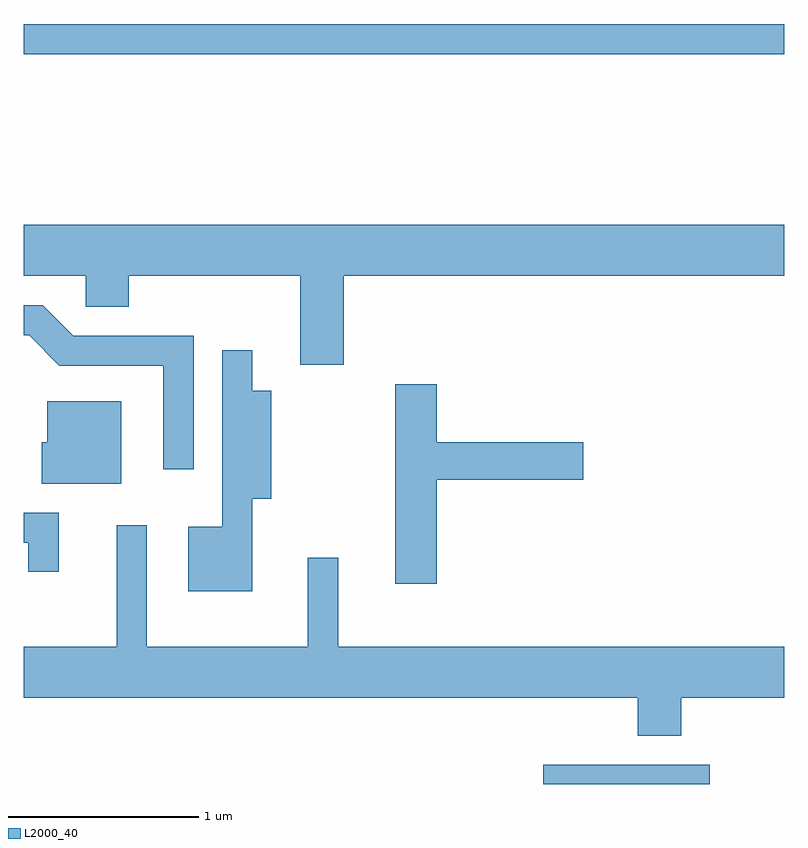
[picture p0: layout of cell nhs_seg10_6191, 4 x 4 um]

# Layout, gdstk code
import gdstk
lib = gdstk.Library(unit=1e-6, precision=1e-09)
def R(c, l, rs):  # rectangles x0, y0, x1, y1
    for r in rs: c.add(gdstk.rectangle(r[:2], r[2:], *l))
def P(c, l, *ps):  # polygons
    for p in ps: c.add(gdstk.Polygon(p, *l))
L2000_40 = (2000, 40)

nhs_seg10_6191 = lib.new_cell('nhs_seg10_6191')
R(nhs_seg10_6191, L2000_40, [(370.343,2164.522,371.219,2164.624), (367.611,2168.361,371.611,2168.519)])
P(nhs_seg10_6191, L2000_40, [(369.294,2167.196),(371.611,2167.196),(371.611,2167.464),(367.611,2167.464),(367.611,2167.196),(367.936,2167.196),(367.936,2167.031),(368.164,2167.031),(368.164,2167.196),(369.066,2167.196),(369.066,2166.726),(369.294,2166.726)],
  [(368.504,2166.879),(367.872,2166.879),(367.712,2167.039),(367.611,2167.039),(367.611,2166.881),(367.639,2166.881),(367.799,2166.721),(368.346,2166.721),(368.346,2166.178),(368.504,2166.178)],
  [(368.814,2166.021),(368.914,2166.021),(368.914,2166.589),(368.814,2166.589),(368.814,2166.803),(368.656,2166.803),(368.656,2165.874),(368.476,2165.874),(368.476,2165.536),(368.814,2165.536)],
  [(369.784,2166.121),(370.554,2166.121),(370.554,2166.319),(369.784,2166.319),(369.784,2166.624),(369.566,2166.624),(369.566,2165.576),(369.784,2165.576)],
  [(368.124,2166.534),(367.736,2166.534),(367.736,2166.319),(367.706,2166.319),(367.706,2166.101),(368.124,2166.101)],
  [(367.794,2165.949),(367.611,2165.949),(367.611,2165.791),(367.636,2165.791),(367.636,2165.638),(367.794,2165.638)],
  [(371.069,2164.976),(371.611,2164.976),(371.611,2165.244),(369.264,2165.244),(369.264,2165.713),(369.106,2165.713),(369.106,2165.244),(368.259,2165.244),(368.259,2165.883),(368.101,2165.883),(368.101,2165.244),(367.611,2165.244),(367.611,2164.976),(370.841,2164.976),(370.841,2164.776),(371.069,2164.776)])

lib.write_gds('nhs_seg10_6191.gds')
